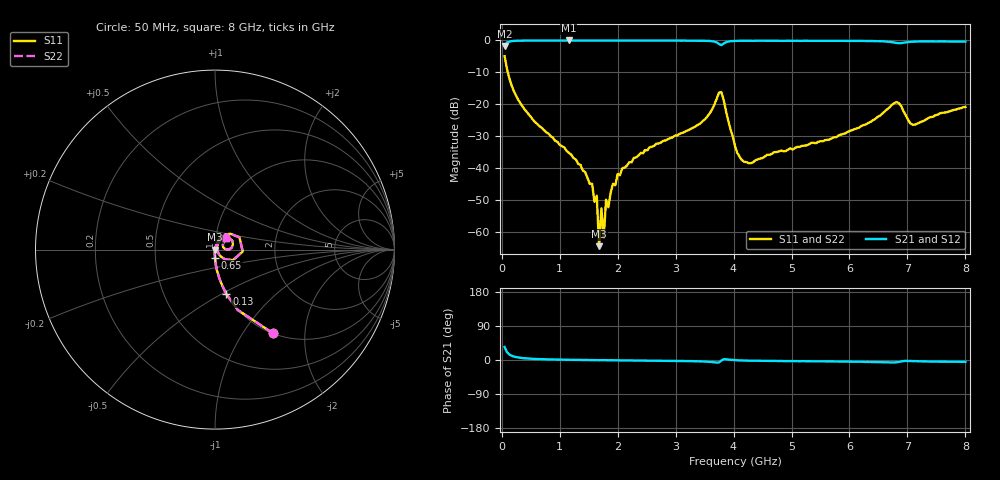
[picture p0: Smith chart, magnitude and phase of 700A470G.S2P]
!  American Technical Ceramics  Date:  3/13/98
!  One Norden Lane
!  Huntington Station,  NY.  11746-2102
!  Tel:  (516) 547-5700  Fax:  (516) 547-5748
!  Part Number  700A470G
!  Description: Porcelain, High Q, Low ESR
!  Application: Bypass, Coupling, Timing, Feedback
!  Tuning, Impedance Match, Blocking
# GHZ S DB R 50
! Freq  |S11|  S11 Ph  |S21|  S21 Ph  |S12|  S12 Ph  |S22|  S22 Ph
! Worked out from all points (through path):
!   201 points, 50 MHz to 8 GHz, reference 50 ohm
!   highest |S21| = -0.01 dB at 1.16 GHz (marker M1); lowest = -1.7 dB at 50 MHz (marker M2)
!   group delay of S21, straight-line fit = 3.4 ps
!   lowest |S11| = -64.5 dB at 1.68 GHz (marker M3), VSWR 1.00, Z = 50 - j0.0512 ohm
!   |S11| at or under -10 dB: 105.3 MHz to end of sweep
!   |S22| runs from -64.5 to -4.9 dB; largest |S21 - S12| = 0
!   S11 on the Smith chart (normalised r, x): 50 MHz: 1.00, -1.38; 130 MHz: 1.00, -0.53; 650 MHz: 1.00, -0.09; 8 GHz: 1.12, +0.15
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0.05  -4.94 -55.3  -1.74 34.3  -1.74 34.3  -4.94 -55.3
0.13  -11.81 -75.6  -0.40 14.7  -0.40 14.7  -11.81 -75.6
0.65  -26.87 -90.0  -0.03 2.4  -0.03 2.4  -26.87 -90.0
1.16  -35.27 -89.9  -0.01 0.6  -0.01 0.6  -35.27 -89.9
1.4  -40.85 -89.0  -0.03 0.2  -0.03 0.2  -40.85 -89.0
1.64  -48.70 -69.1  -0.03 -0.5  -0.03 -0.5  -48.70 -69.1
1.68  -64.52 -59.4  -0.05 -0.5  -0.05 -0.5  -64.52 -59.4
1.72  -52.67 -23.4  -0.04 -0.4  -0.04 -0.4  -52.67 -23.4
1.76  -61.91 43.9  -0.04 -0.3  -0.04 -0.3  -61.91 43.9
1.8  -49.95 42.3  -0.02 -0.7  -0.02 -0.7  -49.95 42.3
1.84  -52.34 41.8  -0.03 -0.7  -0.03 -0.7  -52.34 41.8
2  -41.89 70.9  -0.02 -0.9  -0.02 -0.9  -41.89 70.9
2.71  -32.34 72.4  -0.06 -1.9  -0.06 -1.9  -32.34 72.4
3.43  -25.97 69.6  -0.10 -3.8  -0.10 -3.8  -25.97 69.6
3.79  -16.20 -4.1  -1.47 -1.5  -1.47 -1.5  -16.20 -4.1
4.03  -33.47 -40.2  -0.16 -0.4  -0.16 -0.4  -33.47 -40.2
4.3  -38.47 23.5  -0.11 -1.7  -0.11 -1.7  -38.47 23.5
5.38  -32.09 58.5  -0.12 -3.5  -0.12 -3.5  -32.09 58.5
6.69  -21.01 48.1  -0.43 -6.5  -0.43 -6.5  -21.01 48.1
6.85  -19.66 16.8  -0.85 -5.0  -0.85 -5.0  -19.66 16.8
7.09  -26.47 16.9  -0.39 -2.8  -0.39 -2.8  -26.47 16.9
8  -20.85 45.8  -0.34 -4.7  -0.34 -4.7  -20.85 45.8
